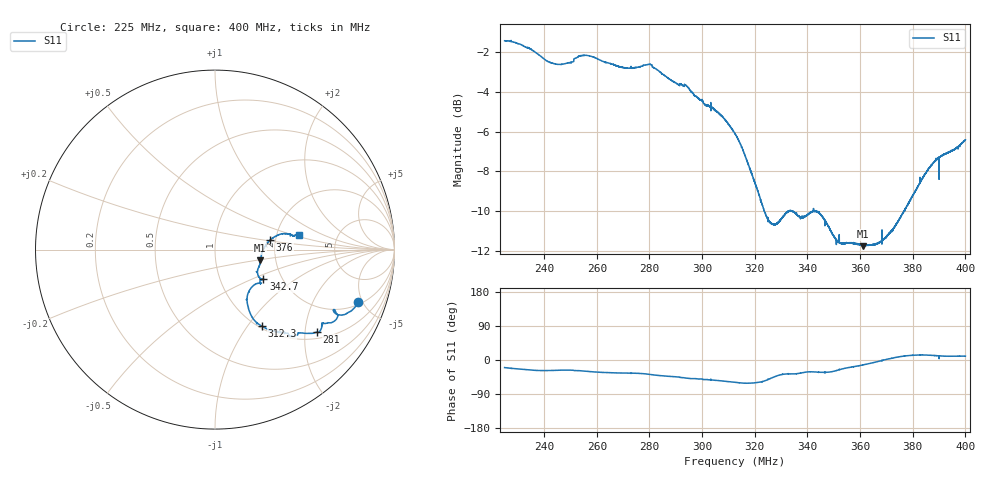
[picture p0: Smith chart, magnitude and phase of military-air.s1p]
! Calibrated averaged scanner-service zoom
# Hz S RI R 50
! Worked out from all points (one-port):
!   10001 points, 225 MHz to 400 MHz, reference 50 ohm
!   lowest |S11| = -11.8 dB at 361.1 MHz (marker M1), VSWR 1.70, Z = 82.7 - j10.7 ohm
!   |S11| at or under -10 dB: 323.6 MHz to 332.7 MHz (9.065 MHz wide, 2.76 % of centre); 334.3 MHz to 342.1 MHz (7.871 MHz wide, 2.33 % of centre); 343.4 MHz to 376.7 MHz (33.24 MHz wide, 9.23 % of centre) (the widest 3 of 14)
!   S11 on the Smith chart (normalised r, x): 225 MHz: 2.23, -4.64; 281 MHz: 1.18, -2.31; 312.3 MHz: 1.03, -1.17; 342.7 MHz: 1.61, -0.59; 376 MHz: 1.87, +0.22; 400 MHz: 2.68, +0.58
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2.25e8  0.7978 -0.2903
2.359725e8  0.7127 -0.3642
2.413275e8  0.666 -0.3515
2.46875e8  0.6616 -0.3342
2.543825e8  0.683 -0.3747
2.60105e8  0.6484 -0.4069
2.6875e8  0.6031 -0.4111
2.75365e8  0.5952 -0.4189
2.810175e8  0.5684 -0.4577
2.90625e8  0.47 -0.464
2.94545e8  0.4325 -0.4836
3.122725e8  0.2598 -0.4253
3.125e8  0.2567 -0.4237
3.194475e8  0.1882 -0.3331
3.255375e8  0.1909 -0.2282
3.29405e8  0.2289 -0.191
3.34375e8  0.2531 -0.1893
3.379625e8  0.2536 -0.1695
3.4267e8  0.2698 -0.1653
3.467125e8  0.2525 -0.1607
3.51175e8  0.2367 -0.1239
3.5625e8  0.2481 -0.0865
3.610975e8  0.251 -0.0604
3.684825e8  0.2671 -0.00433
3.76025e8  0.3068 0.0524
3.78125e8  0.3221 0.0642
3.881e8  0.4109 0.0867
4e8  0.4705 0.0838
